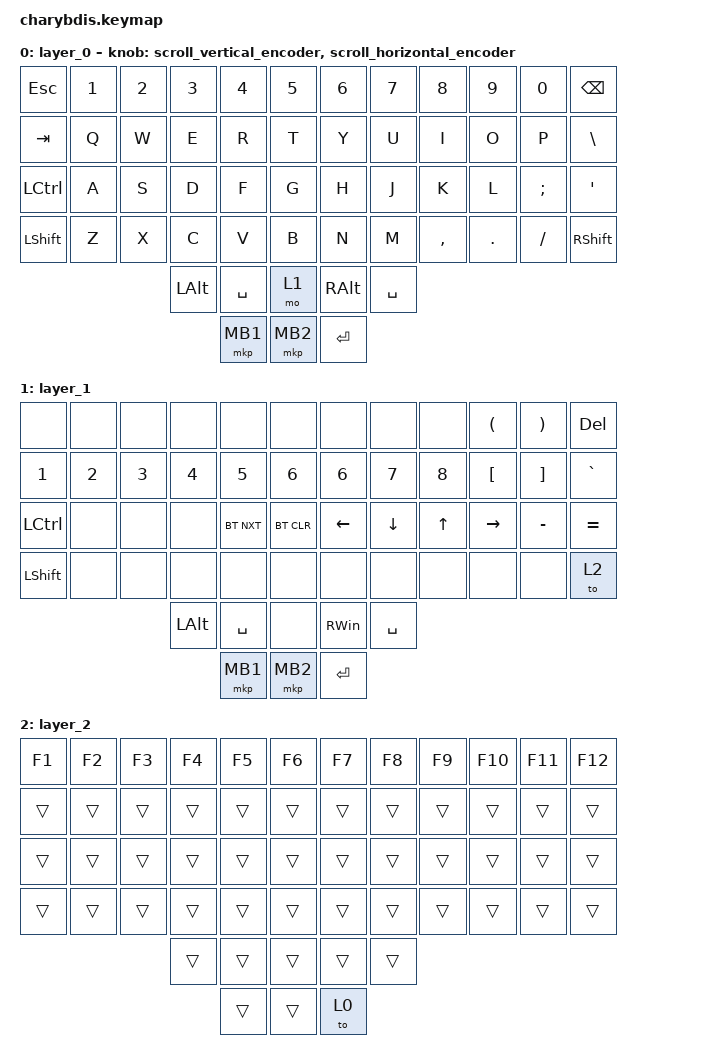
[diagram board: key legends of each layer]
#include <dt-bindings/zmk/mouse.h>
#include <input/processors.dtsi>
#include <zephyr/dt-bindings/input/input-event-codes.h>
#include <behaviors.dtsi>
#include <dt-bindings/zmk/bt.h>
#include <dt-bindings/zmk/keys.h>
#include <dt-bindings/zmk/pointing.h>

#define ZMK_POINTING_DEFAULT_MOVE_VAL 1000 // 600
#define ZMK_POINTING_DEFAULT_SCRL_VAL 12   // 10

&lt {
    tapping-term-ms = <200>;
    flavor = "balanced";
    quick-tap-ms = <150>;
};

&mmv_input_listener { input-processors = <&zip_xy_scaler 2 1>; };

&msc_input_listener { input-processors = <&zip_scroll_scaler 2 1>; };

&msc {
    acceleration-exponent = <0>;      // 0
    time-to-max-speed-ms = <100>;       // 300
    delay-ms = <0>;                   // 0
};

&mmv {
    time-to-max-speed-ms = <300>;
    acceleration-exponent = <1>;
    trigger-period-ms = <16>;
};

/ {
    // 上下滚动编码器行为

    scroll_vertical_encoder: scroll_vertical_encoder {
        compatible = "zmk,behavior-sensor-rotate";
        #sensor-binding-cells = <0>;
        bindings = <&msc SCRL_DOWN>, <&msc SCRL_UP>;

        tap-ms = <100>;
    };

    // 左右滚动编码器行为

    scroll_horizontal_encoder: scroll_horizontal_encoder {
        compatible = "zmk,behavior-sensor-rotate";
        #sensor-binding-cells = <0>;
        bindings = <&msc SCRL_LEFT>, <&msc SCRL_RIGHT>;

        tap-ms = <100>;
    };

    behaviors {
    };

    keymap {
        compatible = "zmk,keymap";

        layer_0 {
            bindings = <
&kp ESC         &kp N1  &kp N2  &kp N3        &kp N4     &kp N5      &kp N6     &kp N7     &kp N8     &kp N9      &kp N0     &kp BACKSPACE
&kp TAB         &kp Q   &kp W   &kp E         &kp R      &kp T       &kp Y      &kp U      &kp I      &kp O       &kp P      &kp BSLH
&kp LCTRL       &kp A   &kp S   &kp D         &kp F      &kp G       &kp H      &kp J      &kp K      &kp L       &kp SEMI   &kp SQT
&kp LEFT_SHIFT  &kp Z   &kp X   &kp C         &kp V      &kp B       &kp N      &kp M      &kp COMMA  &kp PERIOD  &kp SLASH  &kp RIGHT_SHIFT
                                &kp LEFT_ALT  &kp SPACE  &mo 1       &kp RALT   &kp SPACE
                                              &mkp MB1   &mkp MB2    &kp ENTER
            >;

            sensor-bindings =
                <&scroll_vertical_encoder>,
                // 编码器1：上下滚动,,,
                <&scroll_horizontal_encoder>;

            // 编码器2：左右滚动
        };

        layer_1 {
            bindings = <
&none           &none         &none         &none         &none         &none           &none           &none           &none         &kp LEFT_PARENTHESIS  &kp RIGHT_PARENTHESIS  &kp DELETE
&kp NUMBER_1    &kp NUMBER_2  &kp NUMBER_3  &kp NUMBER_4  &kp NUMBER_5  &kp NUMBER_6    &kp NUMBER_6    &kp NUMBER_7    &kp NUMBER_8  &kp LEFT_BRACKET      &kp RIGHT_BRACKET      &kp GRAVE
&kp LCTRL       &none         &none         &none         &bt BT_NXT    &bt BT_CLR      &kp LEFT_ARROW  &kp DOWN_ARROW  &kp UP_ARROW  &kp RIGHT_ARROW       &kp MINUS              &kp EQUAL
&kp LEFT_SHIFT  &none         &none         &none         &none         &none           &none           &none           &none         &none                 &none                  &to 2
                                            &kp LEFT_ALT  &kp SPACE     &none           &kp RWIN        &kp SPACE
                                                          &mkp MB1      &mkp MB2        &kp ENTER
            >;
        };

        layer_2 {
            bindings = <
&kp F1  &kp F2  &kp F3  &kp F4  &kp F5  &kp F6    &kp F7  &kp F8  &kp F9  &kp F10  &kp F11  &kp F12
&trans  &trans  &trans  &trans  &trans  &trans    &trans  &trans  &trans  &trans   &trans   &trans
&trans  &trans  &trans  &trans  &trans  &trans    &trans  &trans  &trans  &trans   &trans   &trans
&trans  &trans  &trans  &trans  &trans  &trans    &trans  &trans  &trans  &trans   &trans   &trans
                        &trans  &trans  &trans    &trans  &trans
                                &trans  &trans    &to 0
            >;
        };

        /* layer_2 {
            bindings = <
&none  &none   &none    &none   &none         &none         &kp N1         &none         &none     &none  &none   &to 0
&none  &none   &none    &none   &none         &none         &none         &none          &rgb_ug RGB_BRD &rgb_ug RGB_BRI  &rgb_ug RGB_EFF   &rgb_ug RGB_TOG
&none  &none   &none    &none   &none         &none         &none         &mkp LCLK     &mkp RCLK  &none  &none   &none
&none  &none   &none    &none   &bt BT_NXT  &bt BT_CLR    &none         &none         &none     &none  &none   &none
                                   &none         &none         &none         &none         &none
                                                 &none         &none         &none
            >;
       
            
        };

       Mouse {
            bindings = <
&none        &none         &none         &none         &none      &none         &none       &none      &none         &none         &none         &none
&none        &bt BT_SEL 0  &bt BT_SEL 1  &bt BT_SEL 3  &none      &bt BT_CLR    &bt BT_CLR  &none      &bt BT_SEL 2  &bt BT_SEL 1  &bt BT_SEL 0  &none
&none        &trans        &trans        &mkp MCLK     &trans     &none         &none       &trans     &mkp MCLK     &trans        &trans        &none
&bootloader  &trans        &mkp RCLK     &mo 4         &mkp LCLK  &mo 5         &mo 5       &mkp LCLK  &mo 4         &mkp RCLK     &trans        &bootloader
                                         &mo 5         &mkp LCLK  &mkp RCLK     &mkp RCLK   &mkp LCLK
                                                       &none      &trans        &trans
            >;

            
        };

        layer_4 {
            bindings = <
&trans  &trans  &trans     &trans     &trans     &trans       &trans     &trans     &trans     &trans     &trans  &trans
&trans  &trans  &trans     &trans     &trans     &trans       &trans     &trans     &trans     &trans     &trans  &trans
&trans  &trans  &trans     &mkp MCLK  &trans     &trans       &trans     &trans     &mkp MCLK  &trans     &trans  &trans
&trans  &trans  &mkp RCLK  &trans     &mkp LCLK  &trans       &trans     &mkp LCLK  &trans     &mkp RCLK  &trans  &trans
                           &trans     &mkp LCLK  &mkp RCLK    &mkp RCLK  &mkp LCLK
                                      &trans     &trans       &trans
            >;
                
                
               
        };

        layer_5 {
            bindings = <
&trans  &trans  &trans     &trans     &trans     &trans       &trans     &trans     &trans     &trans     &trans  &trans
&trans  &trans  &trans     &trans     &trans     &trans       &trans     &trans     &trans     &trans     &trans  &trans
&trans  &trans  &trans     &mkp MCLK  &trans     &trans       &trans     &trans     &mkp MCLK  &trans     &trans  &trans
&trans  &trans  &mkp RCLK  &trans     &mkp LCLK  &trans       &trans     &mkp LCLK  &trans     &mkp RCLK  &trans  &trans
                           &trans     &mkp LCLK  &mkp RCLK    &mkp RCLK  &mkp LCLK
                                      &trans     &trans       &trans
            >;
                
                
        };*/
    };
};
